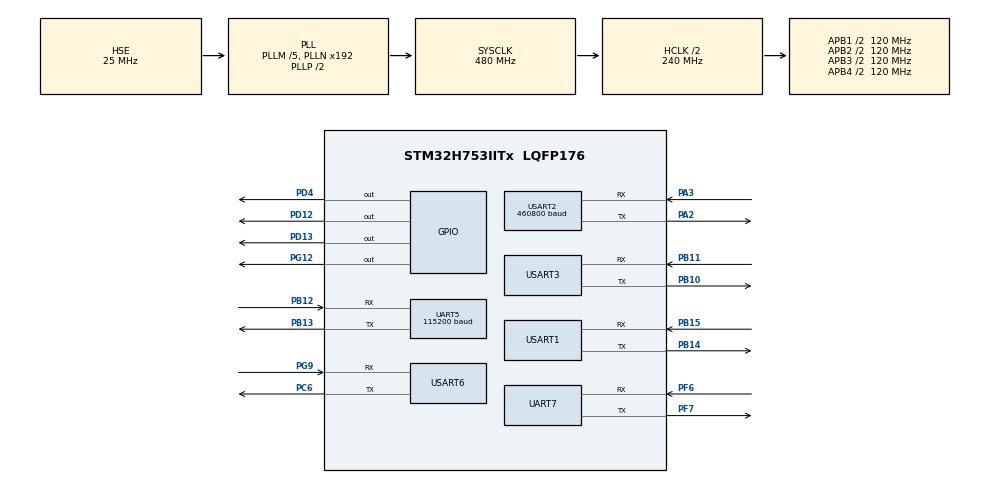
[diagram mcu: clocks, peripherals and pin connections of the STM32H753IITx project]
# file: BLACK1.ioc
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Dma.Request0=USART1_RX
Dma.Request1=USART1_TX
Dma.Request10=UART7_RX
Dma.Request11=UART7_TX
Dma.Request2=USART3_RX
Dma.Request3=USART3_TX
Dma.Request4=USART2_RX
Dma.Request5=USART2_TX
Dma.Request6=USART6_RX
Dma.Request7=USART6_TX
Dma.Request8=UART5_RX
Dma.Request9=UART5_TX
Dma.UART5_RX.8.Direction=DMA_PERIPH_TO_MEMORY
Dma.UART5_RX.8.EventEnable=DISABLE
Dma.UART5_RX.8.FIFOMode=DMA_FIFOMODE_DISABLE
Dma.UART5_RX.8.Instance=DMA2_Stream0
Dma.UART5_RX.8.MemDataAlignment=DMA_MDATAALIGN_BYTE
Dma.UART5_RX.8.MemInc=DMA_MINC_ENABLE
Dma.UART5_RX.8.Mode=DMA_CIRCULAR
Dma.UART5_RX.8.PeriphDataAlignment=DMA_PDATAALIGN_BYTE
Dma.UART5_RX.8.PeriphInc=DMA_PINC_DISABLE
Dma.UART5_RX.8.Polarity=HAL_DMAMUX_REQ_GEN_RISING
Dma.UART5_RX.8.Priority=DMA_PRIORITY_LOW
Dma.UART5_RX.8.RequestNumber=1
Dma.UART5_RX.8.SignalID=NONE
Dma.UART5_RX.8.SyncEnable=DISABLE
Dma.UART5_RX.8.SyncPolarity=HAL_DMAMUX_SYNC_NO_EVENT
Dma.UART5_RX.8.SyncRequestNumber=1
Dma.UART5_RX.8.SyncSignalID=NONE
Dma.UART5_TX.9.Direction=DMA_MEMORY_TO_PERIPH
Dma.UART5_TX.9.EventEnable=DISABLE
Dma.UART5_TX.9.FIFOMode=DMA_FIFOMODE_DISABLE
Dma.UART5_TX.9.Instance=DMA2_Stream1
Dma.UART5_TX.9.MemDataAlignment=DMA_MDATAALIGN_BYTE
Dma.UART5_TX.9.MemInc=DMA_MINC_ENABLE
Dma.UART5_TX.9.Mode=DMA_NORMAL
Dma.UART5_TX.9.PeriphDataAlignment=DMA_PDATAALIGN_BYTE
Dma.UART5_TX.9.PeriphInc=DMA_PINC_DISABLE
Dma.UART5_TX.9.Polarity=HAL_DMAMUX_REQ_GEN_RISING
Dma.UART5_TX.9.Priority=DMA_PRIORITY_LOW
Dma.UART5_TX.9.RequestNumber=1
Dma.UART5_TX.9.SignalID=NONE
Dma.UART5_TX.9.SyncEnable=DISABLE
Dma.UART5_TX.9.SyncPolarity=HAL_DMAMUX_SYNC_NO_EVENT
Dma.UART5_TX.9.SyncRequestNumber=1
Dma.UART5_TX.9.SyncSignalID=NONE
Dma.UART7_RX.10.Direction=DMA_PERIPH_TO_MEMORY
Dma.UART7_RX.10.EventEnable=DISABLE
Dma.UART7_RX.10.FIFOMode=DMA_FIFOMODE_DISABLE
Dma.UART7_RX.10.Instance=DMA2_Stream2
Dma.UART7_RX.10.MemDataAlignment=DMA_MDATAALIGN_BYTE
Dma.UART7_RX.10.MemInc=DMA_MINC_ENABLE
Dma.UART7_RX.10.Mode=DMA_CIRCULAR
Dma.UART7_RX.10.PeriphDataAlignment=DMA_PDATAALIGN_BYTE
Dma.UART7_RX.10.PeriphInc=DMA_PINC_DISABLE
Dma.UART7_RX.10.Polarity=HAL_DMAMUX_REQ_GEN_RISING
Dma.UART7_RX.10.Priority=DMA_PRIORITY_LOW
Dma.UART7_RX.10.RequestNumber=1
Dma.UART7_RX.10.SignalID=NONE
Dma.UART7_RX.10.SyncEnable=DISABLE
Dma.UART7_RX.10.SyncPolarity=HAL_DMAMUX_SYNC_NO_EVENT
Dma.UART7_RX.10.SyncRequestNumber=1
Dma.UART7_RX.10.SyncSignalID=NONE
Dma.UART7_TX.11.Direction=DMA_MEMORY_TO_PERIPH
Dma.UART7_TX.11.EventEnable=DISABLE
Dma.UART7_TX.11.FIFOMode=DMA_FIFOMODE_DISABLE
Dma.UART7_TX.11.Instance=DMA2_Stream3
Dma.UART7_TX.11.MemDataAlignment=DMA_MDATAALIGN_BYTE
Dma.UART7_TX.11.MemInc=DMA_MINC_ENABLE
Dma.UART7_TX.11.Mode=DMA_NORMAL
Dma.UART7_TX.11.PeriphDataAlignment=DMA_PDATAALIGN_BYTE
Dma.UART7_TX.11.PeriphInc=DMA_PINC_DISABLE
Dma.UART7_TX.11.Polarity=HAL_DMAMUX_REQ_GEN_RISING
Dma.UART7_TX.11.Priority=DMA_PRIORITY_LOW
Dma.UART7_TX.11.RequestNumber=1
Dma.UART7_TX.11.SignalID=NONE
Dma.UART7_TX.11.SyncEnable=DISABLE
Dma.UART7_TX.11.SyncPolarity=HAL_DMAMUX_SYNC_NO_EVENT
Dma.UART7_TX.11.SyncRequestNumber=1
Dma.UART7_TX.11.SyncSignalID=NONE
Dma.USART1_RX.0.Direction=DMA_PERIPH_TO_MEMORY
Dma.USART1_RX.0.EventEnable=DISABLE
Dma.USART1_RX.0.FIFOMode=DMA_FIFOMODE_DISABLE
Dma.USART1_RX.0.Instance=DMA1_Stream0
Dma.USART1_RX.0.MemDataAlignment=DMA_MDATAALIGN_BYTE
Dma.USART1_RX.0.MemInc=DMA_MINC_ENABLE
Dma.USART1_RX.0.Mode=DMA_CIRCULAR
Dma.USART1_RX.0.PeriphDataAlignment=DMA_PDATAALIGN_BYTE
Dma.USART1_RX.0.PeriphInc=DMA_PINC_DISABLE
Dma.USART1_RX.0.Polarity=HAL_DMAMUX_REQ_GEN_RISING
Dma.USART1_RX.0.Priority=DMA_PRIORITY_LOW
Dma.USART1_RX.0.RequestNumber=1
Dma.USART1_RX.0.SignalID=NONE
Dma.USART1_RX.0.SyncEnable=DISABLE
Dma.USART1_RX.0.SyncPolarity=HAL_DMAMUX_SYNC_NO_EVENT
Dma.USART1_RX.0.SyncRequestNumber=1
Dma.USART1_RX.0.SyncSignalID=NONE
Dma.USART1_TX.1.Direction=DMA_MEMORY_TO_PERIPH
Dma.USART1_TX.1.EventEnable=DISABLE
Dma.USART1_TX.1.FIFOMode=DMA_FIFOMODE_DISABLE
Dma.USART1_TX.1.Instance=DMA1_Stream1
Dma.USART1_TX.1.MemDataAlignment=DMA_MDATAALIGN_BYTE
Dma.USART1_TX.1.MemInc=DMA_MINC_ENABLE
Dma.USART1_TX.1.Mode=DMA_NORMAL
Dma.USART1_TX.1.PeriphDataAlignment=DMA_PDATAALIGN_BYTE
Dma.USART1_TX.1.PeriphInc=DMA_PINC_DISABLE
Dma.USART1_TX.1.Polarity=HAL_DMAMUX_REQ_GEN_RISING
Dma.USART1_TX.1.Priority=DMA_PRIORITY_LOW
Dma.USART1_TX.1.RequestNumber=1
Dma.USART1_TX.1.SignalID=NONE
Dma.USART1_TX.1.SyncEnable=DISABLE
Dma.USART1_TX.1.SyncPolarity=HAL_DMAMUX_SYNC_NO_EVENT
Dma.USART1_TX.1.SyncRequestNumber=1
Dma.USART1_TX.1.SyncSignalID=NONE
Dma.USART2_RX.4.Direction=DMA_PERIPH_TO_MEMORY
Dma.USART2_RX.4.EventEnable=DISABLE
Dma.USART2_RX.4.FIFOMode=DMA_FIFOMODE_DISABLE
Dma.USART2_RX.4.Instance=DMA1_Stream4
Dma.USART2_RX.4.MemDataAlignment=DMA_MDATAALIGN_BYTE
Dma.USART2_RX.4.MemInc=DMA_MINC_ENABLE
Dma.USART2_RX.4.Mode=DMA_CIRCULAR
Dma.USART2_RX.4.PeriphDataAlignment=DMA_PDATAALIGN_BYTE
Dma.USART2_RX.4.PeriphInc=DMA_PINC_DISABLE
Dma.USART2_RX.4.Polarity=HAL_DMAMUX_REQ_GEN_RISING
Dma.USART2_RX.4.Priority=DMA_PRIORITY_LOW
Dma.USART2_RX.4.RequestNumber=1
Dma.USART2_RX.4.SignalID=NONE
Dma.USART2_RX.4.SyncEnable=DISABLE
Dma.USART2_RX.4.SyncPolarity=HAL_DMAMUX_SYNC_NO_EVENT
Dma.USART2_RX.4.SyncRequestNumber=1
Dma.USART2_RX.4.SyncSignalID=NONE
Dma.USART2_TX.5.Direction=DMA_MEMORY_TO_PERIPH
Dma.USART2_TX.5.EventEnable=DISABLE
Dma.USART2_TX.5.FIFOMode=DMA_FIFOMODE_DISABLE
Dma.USART2_TX.5.Instance=DMA1_Stream5
Dma.USART2_TX.5.MemDataAlignment=DMA_MDATAALIGN_BYTE
Dma.USART2_TX.5.MemInc=DMA_MINC_ENABLE
Dma.USART2_TX.5.Mode=DMA_NORMAL
Dma.USART2_TX.5.PeriphDataAlignment=DMA_PDATAALIGN_BYTE
Dma.USART2_TX.5.PeriphInc=DMA_PINC_DISABLE
Dma.USART2_TX.5.Polarity=HAL_DMAMUX_REQ_GEN_RISING
Dma.USART2_TX.5.Priority=DMA_PRIORITY_LOW
Dma.USART2_TX.5.RequestNumber=1
Dma.USART2_TX.5.SignalID=NONE
Dma.USART2_TX.5.SyncEnable=DISABLE
Dma.USART2_TX.5.SyncPolarity=HAL_DMAMUX_SYNC_NO_EVENT
Dma.USART2_TX.5.SyncRequestNumber=1
Dma.USART2_TX.5.SyncSignalID=NONE
Dma.USART3_RX.2.Direction=DMA_PERIPH_TO_MEMORY
Dma.USART3_RX.2.EventEnable=DISABLE
Dma.USART3_RX.2.FIFOMode=DMA_FIFOMODE_DISABLE
Dma.USART3_RX.2.Instance=DMA1_Stream2
Dma.USART3_RX.2.MemDataAlignment=DMA_MDATAALIGN_BYTE
Dma.USART3_RX.2.MemInc=DMA_MINC_ENABLE
Dma.USART3_RX.2.Mode=DMA_CIRCULAR
Dma.USART3_RX.2.PeriphDataAlignment=DMA_PDATAALIGN_BYTE
Dma.USART3_RX.2.PeriphInc=DMA_PINC_DISABLE
Dma.USART3_RX.2.Polarity=HAL_DMAMUX_REQ_GEN_RISING
Dma.USART3_RX.2.Priority=DMA_PRIORITY_LOW
Dma.USART3_RX.2.RequestNumber=1
Dma.USART3_RX.2.SignalID=NONE
Dma.USART3_RX.2.SyncEnable=DISABLE
Dma.USART3_RX.2.SyncPolarity=HAL_DMAMUX_SYNC_NO_EVENT
Dma.USART3_RX.2.SyncRequestNumber=1
Dma.USART3_RX.2.SyncSignalID=NONE
Dma.USART3_TX.3.Direction=DMA_MEMORY_TO_PERIPH
Dma.USART3_TX.3.EventEnable=DISABLE
Dma.USART3_TX.3.FIFOMode=DMA_FIFOMODE_DISABLE
Dma.USART3_TX.3.Instance=DMA1_Stream3
Dma.USART3_TX.3.MemDataAlignment=DMA_MDATAALIGN_BYTE
Dma.USART3_TX.3.MemInc=DMA_MINC_ENABLE
Dma.USART3_TX.3.Mode=DMA_NORMAL
Dma.USART3_TX.3.PeriphDataAlignment=DMA_PDATAALIGN_BYTE
Dma.USART3_TX.3.PeriphInc=DMA_PINC_DISABLE
Dma.USART3_TX.3.Polarity=HAL_DMAMUX_REQ_GEN_RISING
Dma.USART3_TX.3.Priority=DMA_PRIORITY_LOW
Dma.USART3_TX.3.RequestNumber=1
Dma.USART3_TX.3.SignalID=NONE
Dma.USART3_TX.3.SyncEnable=DISABLE
Dma.USART3_TX.3.SyncPolarity=HAL_DMAMUX_SYNC_NO_EVENT
Dma.USART3_TX.3.SyncRequestNumber=1
Dma.USART3_TX.3.SyncSignalID=NONE
Dma.USART6_RX.6.Direction=DMA_PERIPH_TO_MEMORY
Dma.USART6_RX.6.EventEnable=DISABLE
Dma.USART6_RX.6.FIFOMode=DMA_FIFOMODE_DISABLE
Dma.USART6_RX.6.Instance=DMA1_Stream6
Dma.USART6_RX.6.MemDataAlignment=DMA_MDATAALIGN_BYTE
Dma.USART6_RX.6.MemInc=DMA_MINC_ENABLE
Dma.USART6_RX.6.Mode=DMA_CIRCULAR
Dma.USART6_RX.6.PeriphDataAlignment=DMA_PDATAALIGN_BYTE
Dma.USART6_RX.6.PeriphInc=DMA_PINC_DISABLE
Dma.USART6_RX.6.Polarity=HAL_DMAMUX_REQ_GEN_RISING
Dma.USART6_RX.6.Priority=DMA_PRIORITY_LOW
Dma.USART6_RX.6.RequestNumber=1
Dma.USART6_RX.6.SignalID=NONE
Dma.USART6_RX.6.SyncEnable=DISABLE
Dma.USART6_RX.6.SyncPolarity=HAL_DMAMUX_SYNC_NO_EVENT
Dma.USART6_RX.6.SyncRequestNumber=1
Dma.USART6_RX.6.SyncSignalID=NONE
Dma.USART6_TX.7.Direction=DMA_MEMORY_TO_PERIPH
Dma.USART6_TX.7.EventEnable=DISABLE
Dma.USART6_TX.7.FIFOMode=DMA_FIFOMODE_DISABLE
Dma.USART6_TX.7.Instance=DMA1_Stream7
Dma.USART6_TX.7.MemDataAlignment=DMA_MDATAALIGN_BYTE
Dma.USART6_TX.7.MemInc=DMA_MINC_ENABLE
Dma.USART6_TX.7.Mode=DMA_NORMAL
Dma.USART6_TX.7.PeriphDataAlignment=DMA_PDATAALIGN_BYTE
Dma.USART6_TX.7.PeriphInc=DMA_PINC_DISABLE
Dma.USART6_TX.7.Polarity=HAL_DMAMUX_REQ_GEN_RISING
Dma.USART6_TX.7.Priority=DMA_PRIORITY_LOW
Dma.USART6_TX.7.RequestNumber=1
Dma.USART6_TX.7.SignalID=NONE
Dma.USART6_TX.7.SyncEnable=DISABLE
Dma.USART6_TX.7.SyncPolarity=HAL_DMAMUX_SYNC_NO_EVENT
Dma.USART6_TX.7.SyncRequestNumber=1
Dma.USART6_TX.7.SyncSignalID=NONE
Mcu.Family=STM32H7
Mcu.Name=STM32H753IITx
Mcu.Package=LQFP176
NVIC.DMA1_Stream0_IRQn=true\:0\:0\:false\:false\:true\:false\:true\:true
NVIC.DMA1_Stream1_IRQn=true\:0\:0\:false\:false\:true\:false\:true\:true
NVIC.DMA1_Stream2_IRQn=true\:0\:0\:false\:false\:true\:false\:true\:true
NVIC.DMA1_Stream3_IRQn=true\:0\:0\:false\:false\:true\:false\:true\:true
NVIC.DMA1_Stream4_IRQn=true\:0\:0\:false\:false\:true\:false\:true\:true
NVIC.DMA1_Stream5_IRQn=true\:0\:0\:false\:false\:true\:false\:true\:true
NVIC.DMA1_Stream6_IRQn=true\:0\:0\:false\:false\:true\:false\:true\:true
NVIC.DMA1_Stream7_IRQn=true\:0\:0\:false\:false\:true\:false\:true\:true
NVIC.DMA2_Stream0_IRQn=true\:0\:0\:false\:false\:true\:false\:true\:true
NVIC.DMA2_Stream1_IRQn=true\:0\:0\:false\:false\:true\:false\:true\:true
NVIC.DMA2_Stream2_IRQn=true\:0\:0\:false\:false\:true\:false\:true\:true
NVIC.DMA2_Stream3_IRQn=true\:0\:0\:false\:false\:true\:false\:true\:true
NVIC.PriorityGroup=NVIC_PRIORITYGROUP_2
NVIC.TIM2_IRQn=true\:2\:1\:true\:false\:true\:true\:true\:true
NVIC.TIM3_IRQn=true\:2\:0\:true\:false\:true\:true\:true\:true
NVIC.UART5_IRQn=true\:3\:2\:true\:false\:true\:true\:true\:true
NVIC.UART7_IRQn=true\:3\:3\:true\:false\:true\:true\:true\:true
NVIC.USART1_IRQn=true\:3\:0\:true\:false\:true\:true\:true\:true
NVIC.USART2_IRQn=true\:2\:3\:true\:false\:true\:true\:true\:true
NVIC.USART3_IRQn=true\:3\:0\:true\:false\:true\:true\:true\:true
NVIC.USART6_IRQn=true\:3\:3\:true\:false\:true\:true\:true\:true
PA13\ (JTMS/SWDIO).Mode=Serial_Wire
PA13\ (JTMS/SWDIO).Signal=DEBUG_JTMS-SWDIO
PA14\ (JTCK/SWCLK).Mode=Serial_Wire
PA14\ (JTCK/SWCLK).Signal=DEBUG_JTCK-SWCLK
PA2.Mode=Asynchronous
PA2.Signal=USART2_TX
PA3.Mode=Asynchronous
PA3.Signal=USART2_RX
PB10.Mode=Asynchronous
PB10.Signal=USART3_TX
PB11.Mode=Asynchronous
PB11.Signal=USART3_RX
PB12.Mode=Asynchronous
PB12.Signal=UART5_RX
PB13.Mode=Asynchronous
PB13.Signal=UART5_TX
PB14.Mode=Asynchronous
PB14.Signal=USART1_TX
PB15.Mode=Asynchronous
PB15.Signal=USART1_RX
PC6.Mode=Asynchronous
PC6.Signal=USART6_TX
PD12.GPIO_PuPd=GPIO_PULLUP
PD12.GPIO_Speed=GPIO_SPEED_FREQ_HIGH
PD12.PinState=GPIO_PIN_SET
PD12.Signal=GPIO_Output
PD13.GPIO_PuPd=GPIO_PULLUP
PD13.GPIO_Speed=GPIO_SPEED_FREQ_HIGH
PD13.PinState=GPIO_PIN_SET
PD13.Signal=GPIO_Output
PD4.Signal=GPIO_Output
PF6.Mode=Asynchronous
PF6.Signal=UART7_RX
PF7.Mode=Asynchronous
PF7.Signal=UART7_TX
PG12.GPIO_PuPd=GPIO_PULLUP
PG12.GPIO_Speed=GPIO_SPEED_FREQ_HIGH
PG12.PinState=GPIO_PIN_SET
PG12.Signal=GPIO_Output
PG9.Mode=Asynchronous
PG9.Signal=USART6_RX
PH0-OSC_IN\ (PH0).Mode=HSE-External-Oscillator
PH0-OSC_IN\ (PH0).Signal=RCC_OSC_IN
PH1-OSC_OUT\ (PH1).Mode=HSE-External-Oscillator
PH1-OSC_OUT\ (PH1).Signal=RCC_OSC_OUT
ProjectManager.HeapSize=0x200
ProjectManager.StackSize=0x400
ProjectManager.TargetToolchain=MDK-ARM V5.27
RCC.ADCFreq_Value=50390625
RCC.APB1Freq_Value=120000000
RCC.APB2Freq_Value=120000000
RCC.APB3Freq_Value=120000000
RCC.APB4Freq_Value=120000000
RCC.CortexFreq_Value=480000000
RCC.D1PPRE=RCC_APB3_DIV2
RCC.D2PPRE1=RCC_APB1_DIV2
RCC.D2PPRE2=RCC_APB2_DIV2
RCC.D3PPRE=RCC_APB4_DIV2
RCC.DIVM1=5
RCC.DIVN1=192
RCC.HCLKFreq_Value=240000000
RCC.HPRE=RCC_HCLK_DIV2
RCC.PLL2FRACN=0
RCC.PLL3FRACN=0
RCC.PLLFRACN=0
RCC.PLLSourceVirtual=RCC_PLLSOURCE_HSE
RCC.SYSCLKFreq_VALUE=480000000
RCC.SYSCLKSource=RCC_SYSCLKSOURCE_PLLCLK
RCC.USBFreq_Value=480000000
TIM2.Period=2000-1
TIM2.Prescaler=2400-1
TIM3.Period=10000-1
TIM3.Prescaler=2400-1
UART5.BaudRate=115200
USART1.VirtualMode-Asynchronous=VM_ASYNC
USART2.BaudRate=460800
USART2.Parity=PARITY_NONE
USART2.VirtualMode-Asynchronous=VM_ASYNC
USART3.VirtualMode-Asynchronous=VM_ASYNC
USART6.VirtualMode-Asynchronous=VM_ASYNC
VP_MEMORYMAP_VS_MEMORYMAP.Mode=CurAppReg
VP_TIM2_VS_ClockSourceINT.Mode=Internal
VP_TIM3_VS_ClockSourceINT.Mode=Internal
board=custom

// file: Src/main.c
/* USER CODE BEGIN Header */
/**
  ******************************************************************************
  * @file           : main.c
  * @author			: 宋裕恒
  * @brief			: 本程序适用于H743\H753开发板，包括光纤惯导、XSense惯导、UWB位置传感器、深度传感器
  * @introduction	: USART6->XSense惯导、  UART7->深度传感器、  UART5->与RCT6通信74800、  USART2->光纤惯导、  USART1->UWB
  * @attention		:
  ******************************************************************************
  * @attention
  *
  * <h2><center>&copy; Copyright (c) 2025 STMicroelectronics.
  * All rights reserved.</center></h2>
  *
  * This software component is licensed by ST under BSD 3-Clause license,
  * the "License"; You may not use this file except in compliance with the
  * License. You may obtain a copy of the License at:
  *                        opensource.org/licenses/BSD-3-Clause
  *
  ******************************************************************************
  */
/* USER CODE END Header */
#include "main.h"
#include "dma.h"
#include "memorymap.h"
#include "tim.h"
#include "usart.h"
#include "gpio.h"

/* USER CODE BEGIN Includes */
#include "U8_Float.h"
#include "UWB.h"
#include "Xsense.h"
#include "Depth_Sensor.h"
#include "GuangXian.h"
#include "Dvl.h"
#include "Cal_V_Angular.h"
#include "Navigation.h"
#include <stdio.h>
#include <stdlib.h>
#include <string.h>
#include <stdbool.h>   // 添加布尔类型支持
/* USER CODE END Includes */

/* USER CODE BEGIN PM */
// 全局变量

/* USER CODE END PM */

/* USER CODE BEGIN PV */

/*黄远标主要修改内容：修改的内容形式为：

//注释内容
修改本部分
//注释内容

1.拖过检测当前时间与上一次接收时间的差作为有无uwb信号的依据：

     通过时间戳判断UWB数据是否超时

     设置超时时间为200ms

2.在UWB中断中更新时间戳：

     当收到UWB数据时，更新last_uwb_time

3.修改位置解算逻辑：

     当uwb_valid_flag为真，使用UWB解算的XY位置

     当uwb_valid_flag为假，使用DVL解算的XY位置

4.在数据帧中添加UWB状态：

     将uwb_valid_flag值添加到Deta[2]位置，用于指示UWB信号状态

5.在主循环中定期检查UWB信号：

     每次循环都调用检测时间差来更新UWB状态
*/

//增加的指示位
bool uwb_valid_flag = true; // UWB信号状态指示：无uwb为假，使用dvl推位计算位置，有uwb为真，使用uwb信号计算位置
//增加的指示位

//以下为实际输出变量声明
DVL_Parser_t dvl_parser;
uint8_t dvl_rx_byte;
DeadReckoning_t dr;
uint32_t last_position_update = 0;
Position_t pos;

Velocity_t body_velocity;
Attitude_t attitude;
uint32_t current_time;
Position_t current_pos;

float sensor_u, sensor_v, sensor_w;           // 速度数据
float sensor_roll, sensor_pitch, sensor_yaw;  // 姿态数据
float sensor_depth;                           // 深度数据

float Xaxis;
float Yaxis;

float depth_num;
float Angle = 0.0;
float roll = 0.0;
float Pitch;

float speed_u;
float speed_v;
float speed_w;
float speed_p;
float speed_q;
float speed_r;

// 判断有无UWB相关变量依据
uint32_t last_uwb_time = 0;
#define UWB_TIMEOUT 200  // UWB超时时间200ms
// 判断有无UWB相关变量依据

//定义发送的数组
uint8_t Xpos[4] = {0};//X
uint8_t Ypos[4] = {0};
uint8_t Depth[4] = {0};

uint8_t Roll[4] = {0};
uint8_t pitch[4] = {0};//跟上面float重名了，用小写
uint8_t yaw[4] = {0};

uint8_t u_vlocity[4] = {0};
uint8_t v_vlocity[4] = {0};
uint8_t w_vlocity[4] = {0};

uint8_t p_vlocity[4] = {0};
uint8_t q_vlocity[4] = {0};
uint8_t r_vlocity[4] = {0};

//从51变成了52，多了指示位zsw
uint8_t Deta[52] = {0};//最后的数据
//从51变成了52，多了指示位zsw

uint8_t UART6_Rec_Buf[50] = {0};
uint8_t UART7_Rec_Buf[50] = {0};

uint8_t UART6_Rec_Counter = 0;
uint8_t UART7_Rec_Counter = 0;
//深度计全局变量
uint8_t Depth_rx_buffer[1];
char Depth_rx_line[50];
uint8_t Depth_rx_index = 0;
float D_value = 0.0f;

/* USER CODE END PV */

void SystemClock_Config(void);

/* USER CODE BEGIN 0 */
float get_D_value(void) { return D_value; }
void Navigation_Task(void);

void Fuzhi()
{
	Deta[0] = 0xFE;
	Deta[1] = 0x01;

	//新增的uwb指示位置
	Deta[2] = uwb_valid_flag;
	//新增的uwb指示位置

	Deta[3] = Xpos[0];
	Deta[4] = Xpos[1];
	Deta[5] = Xpos[2];
	Deta[6] = Xpos[3];

	Deta[7] = Ypos[0];
	Deta[8] = Ypos[1];
	Deta[9] = Ypos[2];
	Deta[10] = Ypos[3];

	Deta[11] = Depth[0];
	Deta[12] = Depth[1];
	Deta[13] = Depth[2];
	Deta[14] = Depth[3];

	Deta[15] = Roll[0];
	Deta[16] = Roll[1];
	Deta[17] = Roll[2];
	Deta[18] = Roll[3];

	Deta[19] = pitch[0];
	Deta[20] = pitch[1];
	Deta[21] = pitch[2];
	Deta[22] = pitch[3];

	Deta[23] = yaw[0];
	Deta[24] = yaw[1];
	Deta[25] = yaw[2];
	Deta[26] = yaw[3];

	Deta[27] = u_vlocity[0];
	Deta[28] = u_vlocity[1];
	Deta[29] = u_vlocity[2];
	Deta[30] = u_vlocity[3];

	Deta[31] = v_vlocity[0];
	Deta[32] = v_vlocity[1];
	Deta[33] = v_vlocity[2];
	Deta[34] = v_vlocity[3];

	Deta[35] = w_vlocity[0];
	Deta[36] = w_vlocity[1];
	Deta[37] = w_vlocity[2];
	Deta[38] = w_vlocity[3];

	Deta[39] = p_vlocity[0];
	Deta[40] = p_vlocity[1];
	Deta[41] = p_vlocity[2];
	Deta[42] = p_vlocity[3];

	Deta[43] = q_vlocity[0];
	Deta[44] = q_vlocity[1];
	Deta[45] = q_vlocity[2];
	Deta[46] = q_vlocity[3];

	Deta[47] = r_vlocity[0];
	Deta[48] = r_vlocity[1];
	Deta[49] = r_vlocity[2];
	Deta[50] = r_vlocity[3];

	Deta[51] = 0xFF;

}

void HAL_UART_RxCpltCallback(UART_HandleTypeDef *huart)//串口中断回调函数
{
	static uint8_t rxd1_state = 0;//串口1的状态 --0：等待包头；1：接收数据；2：等待帧尾
	static uint8_t rxd2_state = 0;//串口2的状态 --0：等待包头；1：接收数据；2：等待帧尾
	static uint8_t rxd6_state = 0;//串口6的状态 --0：等待包头；1：接收数据；2：等待帧尾
	static uint8_t rxd7_state = 0;//串口7的状态 --0：等待包头；1：接收数据；2：等待帧尾

	//新增的uwb串口
	static uint8_t rxd3_state = 0;//串口3的状态 --0：等待包头；1：接收数据；2：等待帧尾
	//新增的uwb串口

	//DVL数据储存程序
	if(huart->Instance == USART1)
	{
		DVL_RxCallback(&dvl_parser, dvl_rx_byte);
    HAL_UART_Receive_IT(&huart1, &dvl_rx_byte, 1);

	 }

	//光纤惯导数据储存程序
	else if(huart->Instance == USART2)
	{

		switch(rxd2_state)
					{
						case 0://等待帧头
							if(aRxBuffer2 == 0x80)
							{
								rxd2_state = 1;
								rxd2_index = 0;
							}
							else
							{
								rxd2_state = 0;
							}
						  break;
						case 1://开始接收
							rxd2_buffer[rxd2_index] = aRxBuffer2; // 转存接收到的数据
						    rxd2_index++;
						  if(rxd2_index >= 9)//判断存满
							{
//								rxd2_state = 2;
								rxd2_flag = 1;//开始处理
								rxd2_state = 0;
							}
						  break;
//						case 2:
//								rxd2_flag = 1;
//								rxd2_state = 0;
//						  break;
					}
		 HAL_UART_Receive_IT(&huart2, (uint8_t *)&aRxBuffer2, 1);	// 重新开启接收中断
	}

	//Xsense惯导数据储存程序
	else if(huart->Instance == USART6)
	{
		 switch(rxd6_state)
					{
						case 0:
							if((aRxBuffer6 == 0xFA) && (rxd6_head == 0))
							{
								rxd6_head = 1;
							}
							else if((aRxBuffer6 == 0xFF) && (rxd6_head == 1))
							{
								rxd6_head = 2;
							}
							else if((aRxBuffer6 == 0x36) && (rxd6_head == 2))
							{
								rxd6_state = 1;
								rxd6_head = 0;
								rxd6_index = 0;
							}
							else
							{
								rxd6_state = 0;
								rxd6_head = 0;
							}
						  break;
						case 1:
							rxd6_buffer[rxd6_index] = aRxBuffer6; // 转存接收到的数据
						    rxd6_index++;
						  if(rxd6_index >= 53)
							{
								rxd6_state = 2;
							}
						  break;
						case 2:
								rxd6_flag = 1;
								rxd6_state = 0;
								rxd6_index = 0;
						  break;
					}
		 HAL_UART_Receive_IT(&huart6, (uint8_t *)&aRxBuffer6, 1);	// 重新开启接收中断
	}

	//深度计数据储存程序
	else if(huart->Instance == UART7)
	{

			  char ch = Depth_rx_buffer[0];

        if(ch == '\n')
        {
            Depth_rx_line[Depth_rx_index] = '\0';

            // 直接查找并解析D值
            char* p = strstr(Depth_rx_line, "D=");
            if(p) D_value = atof(p + 2);
            depth_num = get_D_value();
            Depth_rx_index = 0;
        }
        else if(ch != '\r' && Depth_rx_index < 49)
        {
            Depth_rx_line[Depth_rx_index++] = ch;
        }
		 HAL_UART_Receive_IT(&huart7, (uint8_t *)&Depth_rx_buffer, 1);	// 重新开启接收中断
	}

	//新增的UWB数据储存程序
	if(huart->Instance == USART3)
	{
		switch(rxd3_state)
					{
						case 0:
							if((aRxBuffer3 == 0x55) && (rxd3_head == 0))
							{
								rxd3_head = 1;
							}
							else if((aRxBuffer3 == 0x01) && (rxd3_head == 1))
							{
								rxd3_head = 2;
							}
							else if((aRxBuffer3 == 0x00) && (rxd3_head == 2))
							{
								rxd3_state = 1;
								rxd3_head = 0;
								rxd3_index = 0;

								// 收到UWB数据，更新时间戳
								last_uwb_time = HAL_GetTick();
								// 收到UWB数据，更新时间戳

							}
							else
							{
								rxd3_state = 0;
								rxd3_head = 0;
							}
						  break;

						case 1:
							rxd3_buffer[rxd3_index] = aRxBuffer3; // 转存接收到的数据
							rxd3_index++;
						  if(rxd3_index >= 124)
							{
								rxd3_state = 2;
							}
						  break;

						case 2:
								rxd3_flag = 1;
								rxd3_state = 0;
								rxd3_index = 0;
						  break;
					}
		 HAL_UART_Receive_IT(&huart3, (uint8_t *)&aRxBuffer3, 1);	// 重新开启接收中断
	 }
	//新增的UWB数据储存程序

}

void HAL_TIM_PeriodElapsedCallback(TIM_HandleTypeDef *htim)
{

	 if (htim->Instance == htim2.Instance) // 确认是TIM2触发
    {
        if (huart2.gState == HAL_UART_STATE_READY)
        {
			HAL_UART_Transmit_IT(&huart2, (uint8_t *)"0", 1);
        }
    }

	 if (htim->Instance == htim3.Instance)
    {
        if (huart5.gState == HAL_UART_STATE_READY)
        {
			    Fuzhi();
			    HAL_UART_Transmit_IT(&huart5, Deta, 52);
					//Angle = Angle+0.0003;

        }
    }

}

/* USER CODE END 0 */

int main(void)
{

  /* MCU Configuration--------------------------------------------------------*/

  /* Reset of all peripherals, Initializes the Flash interface and the Systick. */
  HAL_Init();

  /* Configure the system clock */
  SystemClock_Config();

  /* Initialize all configured peripherals */
  MX_GPIO_Init();
  MX_DMA_Init();
  MX_USART1_UART_Init();
  MX_TIM2_Init();
  MX_UART5_Init();
  MX_UART7_Init();
  MX_USART2_UART_Init();
  MX_USART6_UART_Init();
  MX_TIM3_Init();
  MX_USART3_UART_Init();
  /* USER CODE BEGIN 2 */

	 DR_Init(&dr);
	 // 设置初始位置（可选）
   Position_t init_pos = {0.0f, 0.0f, 0.0f};
   // 配置优化参数
   IntegratorConfig_t config = {
        .use_trapezoidal = 1,        // 使用梯形积分
        .use_interpolation = 1,      // 使用插值
        .use_attitude_compensation = 1,
        .velocity_threshold = 0.005f, // 0.5cm/s噪声阈值
        .max_dt = 0.15f              // 最大150ms间隔
    };
	 DR_SetConfig(&dr, &config);

	 DVL_Init(&dvl_parser, &huart1);

//原来是中断，并没有开启DMA,
//	 HAL_UART_Receive_IT(&huart1, &dvl_rx_byte, 1);
//
//	 HAL_UART_Receive_IT(&huart2, (uint8_t *)&aRxBuffer2, 1);
//
//	//开启新增的串口接收
//	 HAL_UART_Receive_IT(&huart3, (uint8_t *)&aRxBuffer3, 1);
//	//开启新增的串口接收
//
//	 HAL_UART_Receive_IT(&huart6, (uint8_t *)&aRxBuffer6, 1);
//	 HAL_UART_Receive_IT(&huart7, (uint8_t *)&Depth_rx_buffer, 1);

//DMA开启
	 HAL_UART_Receive_DMA(&huart1, &dvl_rx_byte, 1);

	  HAL_UART_Receive_DMA(&huart2, (uint8_t *)&aRxBuffer2, 1);

	//开启新增的串口接收
	  HAL_UART_Receive_DMA(&huart3, (uint8_t *)&aRxBuffer3, 1);
	//开启新增的串口接收

	  HAL_UART_Receive_DMA(&huart6, (uint8_t *)&aRxBuffer6, 1);
	 HAL_UART_Receive_DMA(&huart7, (uint8_t *)&Depth_rx_buffer, 1);

	 HAL_GPIO_WritePin(GPIOD, GPIO_PIN_13, GPIO_PIN_RESET);   //光纤
	 HAL_GPIO_WritePin(GPIOD, GPIO_PIN_4, GPIO_PIN_SET);
	 HAL_GPIO_WritePin(GPIOD, GPIO_PIN_12, GPIO_PIN_RESET);
	 HAL_GPIO_WritePin(GPIOG, GPIO_PIN_12, GPIO_PIN_SET);

	 HAL_Delay(100);
	 HAL_TIM_Base_Start_IT(&htim2);//光纤惯导专用

	 HAL_TIM_Base_Start_IT(&htim3);//光纤惯导专用

  /* USER CODE END 2 */

  /* Infinite loop */
  /* USER CODE BEGIN WHILE */
  while (1)
  {
	  current_time = HAL_GetTick();

if((current_time - last_uwb_time) > UWB_TIMEOUT)
    {
        uwb_valid_flag = false; // 当前时间与上一次uwb接收信号时间超过200ms，判断为uwb信号断开
    }
    else
    {
		uwb_valid_flag = true;  // 判断为uwb信号有效
    }

	  //USART6->XSense惯导、UART7->深度传感器、USART2->光纤惯导、USART1->UWB
		float tempu = 0.f;
		float tempv = 0.f;
		float tempw = 0.f;
		DVL_GetData(&dvl_parser, &speed_u, &speed_v, &speed_w);
		FloatToU8(speed_u/1000.f,u_vlocity);
		FloatToU8(speed_v/1000.f,v_vlocity);
		FloatToU8(speed_w/1000.f,w_vlocity);

//新增的：进入UWB解算程序
	   if(rxd3_flag == 1)
	  {
		Xaxis=X_function(rxd3_buffer);
		Yaxis=Y_function(rxd3_buffer);

        FloatToU8(Xaxis, Xpos);
        FloatToU8(Yaxis, Ypos);

        // 重置DR位置到当前UWB位置
        DR_Reset(&dr, Xaxis, Yaxis, depth_num);

		rxd3_flag = 0;
	  }
//新增的：进入UWB解算程序

	  if(rxd2_flag == 1)//进入光纤惯导解算程序
	  {
			Angleadd = Angle_function(rxd2_buffer);
			Angle -= Angleadd;
			FloatToU8(Angle,yaw);

			attitude.yaw = Angle*M_PI/180;
			DR_UpdateAttitude(&dr, &attitude, current_time);
			rxd2_flag = 0;
	  }

		if(rxd6_flag == 1)//进入XSense惯导解算程序
	  {
			Pitch = Yaw_function(rxd6_buffer);
			roll = Pitch_function(rxd6_buffer);
			speed_p = p_function(rxd6_buffer);
			speed_q = q_function(rxd6_buffer);
			speed_r = r_function(rxd6_buffer);

			speed_p = -1*speed_p;
			speed_q = -1*speed_q;
			speed_r = -1*speed_r;
			roll = -1*roll;
			Pitch = -1*Pitch;

			//p q交换以适配载体坐标系以及惯导盒布置
			FloatToU8(speed_q,p_vlocity);
			FloatToU8(speed_p,q_vlocity);
			FloatToU8(speed_r,r_vlocity);
			FloatToU8(Pitch,pitch);
			FloatToU8(roll,Roll);

			attitude.roll = roll*M_PI/180.f;
      attitude.pitch = Pitch*M_PI/180.f;

			rxd6_flag = 0;
	  }

		FloatToU8(depth_num,Depth);

		if(dvl_parser.updated)
		{
			if((speed_u <2000.f)&&(speed_v<2000.f)&&speed_w<2000.f)
	    {
	    	body_velocity.u = speed_u*0.001f;
	    	body_velocity.v = speed_v*0.001f;
	    	body_velocity.w = speed_w*0.001f;
				DR_UpdateVelocity(&dr, &body_velocity, current_time);
	    }
		}

		DR_UpdateDepth(&dr, depth_num);

			//航位推算 - 只有当UWB信号无效时才使用DVL解算的位置
		if (current_time - last_position_update >= 20)

		{ // 50Hz
			if(!uwb_valid_flag)  // 使用布尔值判断
			{
            DR_UpdatePosition(&dr, current_time);
            last_position_update = current_time;

            DR_GetPosition(&dr, &pos);

            FloatToU8(pos.x,Xpos);
            FloatToU8(pos.y,Ypos);
            }
        }
		//航位推算 - 只有当UWB信号无效时才使用DVL解算的位置

    /* USER CODE END WHILE */

  }
}

void SystemClock_Config(void)
{
  RCC_OscInitTypeDef RCC_OscInitStruct = {0};
  RCC_ClkInitTypeDef RCC_ClkInitStruct = {0};

  /** Supply configuration update enable
  */
  HAL_PWREx_ConfigSupply(PWR_LDO_SUPPLY);

  /** Configure the main internal regulator output voltage
  */
  __HAL_PWR_VOLTAGESCALING_CONFIG(PWR_REGULATOR_VOLTAGE_SCALE1);

  while(!__HAL_PWR_GET_FLAG(PWR_FLAG_VOSRDY)) {}

  __HAL_RCC_SYSCFG_CLK_ENABLE();
  __HAL_PWR_VOLTAGESCALING_CONFIG(PWR_REGULATOR_VOLTAGE_SCALE0);

  while(!__HAL_PWR_GET_FLAG(PWR_FLAG_VOSRDY)) {}

  /** Initializes the RCC Oscillators according to the specified parameters
  * in the RCC_OscInitTypeDef structure.
  */
  RCC_OscInitStruct.OscillatorType = RCC_OSCILLATORTYPE_HSE;
  RCC_OscInitStruct.HSEState = RCC_HSE_ON;
  RCC_OscInitStruct.PLL.PLLState = RCC_PLL_ON;
  RCC_OscInitStruct.PLL.PLLSource = RCC_PLLSOURCE_HSE;
  RCC_OscInitStruct.PLL.PLLM = 5;
  RCC_OscInitStruct.PLL.PLLN = 192;
  RCC_OscInitStruct.PLL.PLLP = 2;
  RCC_OscInitStruct.PLL.PLLQ = 2;
  RCC_OscInitStruct.PLL.PLLR = 2;
  RCC_OscInitStruct.PLL.PLLRGE = RCC_PLL1VCIRANGE_2;
  RCC_OscInitStruct.PLL.PLLVCOSEL = RCC_PLL1VCOWIDE;
  RCC_OscInitStruct.PLL.PLLFRACN = 0;
  if (HAL_RCC_OscConfig(&RCC_OscInitStruct) != HAL_OK)
  {
    Error_Handler();
  }

  /** Initializes the CPU, AHB and APB buses clocks
  */
  RCC_ClkInitStruct.ClockType = RCC_CLOCKTYPE_HCLK|RCC_CLOCKTYPE_SYSCLK
                              |RCC_CLOCKTYPE_PCLK1|RCC_CLOCKTYPE_PCLK2
                              |RCC_CLOCKTYPE_D3PCLK1|RCC_CLOCKTYPE_D1PCLK1;
  RCC_ClkInitStruct.SYSCLKSource = RCC_SYSCLKSOURCE_PLLCLK;
  RCC_ClkInitStruct.SYSCLKDivider = RCC_SYSCLK_DIV1;
  RCC_ClkInitStruct.AHBCLKDivider = RCC_HCLK_DIV2;
  RCC_ClkInitStruct.APB3CLKDivider = RCC_APB3_DIV2;
  RCC_ClkInitStruct.APB1CLKDivider = RCC_APB1_DIV2;
  RCC_ClkInitStruct.APB2CLKDivider = RCC_APB2_DIV2;
  RCC_ClkInitStruct.APB4CLKDivider = RCC_APB4_DIV2;

  if (HAL_RCC_ClockConfig(&RCC_ClkInitStruct, FLASH_LATENCY_4) != HAL_OK)
  {
    Error_Handler();
  }
}

void Error_Handler(void)
{
}
